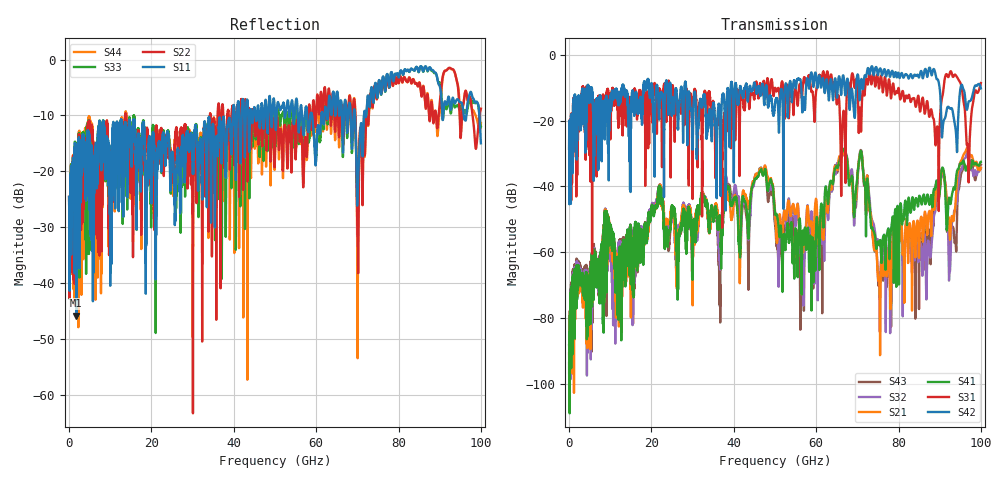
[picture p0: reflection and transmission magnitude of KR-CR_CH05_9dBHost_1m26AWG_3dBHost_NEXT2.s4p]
# GHz S MA R 50.00
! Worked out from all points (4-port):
!   10000 points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, 10 MHz to 100 GHz, reference 50 ohm
!   strongest paths, dB at 10 MHz, 25.01 GHz, 50.01 GHz, 75.01 GHz, 100 GHz:
!     S42: -28.5, -16.1, -14.7, -6.1, -10.2
!     S31: -28.5, -10.5, -10.0, -7.5, -8.6
!     S41: -88.2, -47.1, -48.2, -56.7, -32.5
!     S21: -90.7, -48.1, -47.5, -67.8, -34.3
!     S32: -96.7, -48.9, -48.1, -56.1, -34.6
!     S43: -93.6, -48.8, -51.5, -68.0, -33.4
!   lowest |S11| = -45.8 dB at 1.76 GHz (marker M1), VSWR 1.01, Z = 49.5 + j0.185 ohm
!   |S11| at or under -10 dB: start of sweep to 39.78 GHz; 58.99 GHz to 61.27 GHz (2.279 GHz wide, 3.79 % of centre); 69.43 GHz to 71.61 GHz (2.176 GHz wide, 3.09 % of centre) (the widest 3 of 31)
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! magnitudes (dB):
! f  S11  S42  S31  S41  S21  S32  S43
! 10 MHz  -24.6  -28.5  -28.5  -88.2  -90.7  -96.7  -93.6
! 1.76 GHz  -45.8  -27.7  -32.6  -72.0  -73.3  -70.5  -69.8
! 46.48 GHz  -10.9  -12.2  -8.9  -35.1  -34.7  -34.8  -34.4
! 56.58 GHz  -9.7  -16.3  -12.9  -60.1  -55.6  -54.2  -62.6
! 66.77 GHz  -9.5  -7.8  -17.6  -28.7  -29.3  -30.2  -29.1
! 75.32 GHz  -3.7  -4.6  -9.9  -57.8  -68.3  -57.8  -69.8
! 100 GHz  -15.0  -10.2  -8.6  -32.5  -34.3  -34.6  -33.4
